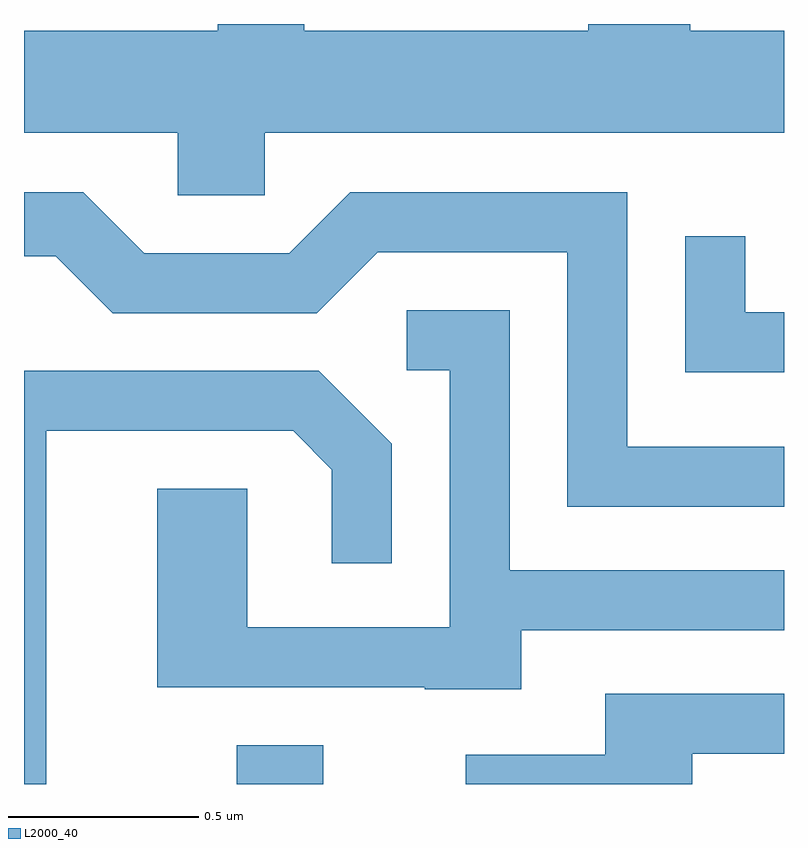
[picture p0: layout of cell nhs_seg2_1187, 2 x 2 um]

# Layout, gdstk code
import gdstk
lib = gdstk.Library(unit=1e-6, precision=1e-09)
def R(c, l, rs):  # rectangles x0, y0, x1, y1
    for r in rs: c.add(gdstk.rectangle(r[:2], r[2:], *l))
def P(c, l, *ps):  # polygons
    for p in ps: c.add(gdstk.Polygon(p, *l))
L2000_40 = (2000, 40)

nhs_seg2_1187 = lib.new_cell('nhs_seg2_1187')
R(nhs_seg2_1187, L2000_40, [(194.171,1068.802,194.399,1068.904)])
P(nhs_seg2_1187, L2000_40, [(194.244,1070.516),(195.611,1070.516),(195.611,1070.784),(195.364,1070.784),(195.364,1070.802),(195.096,1070.802),(195.096,1070.784),(194.349,1070.784),(194.349,1070.802),(194.121,1070.802),(194.121,1070.784),(193.611,1070.784),(193.611,1070.516),(194.016,1070.516),(194.016,1070.351),(194.244,1070.351)],
  [(195.611,1069.689),(195.199,1069.689),(195.199,1070.359),(194.469,1070.359),(194.309,1070.199),(193.927,1070.199),(193.767,1070.359),(193.611,1070.359),(193.611,1070.191),(193.694,1070.191),(193.844,1070.041),(194.382,1070.041),(194.542,1070.201),(195.041,1070.201),(195.041,1069.531),(195.611,1069.531)],
  [(195.611,1070.044),(195.509,1070.044),(195.509,1070.243),(195.351,1070.243),(195.351,1069.886),(195.611,1069.886)],
  [(194.919,1069.206),(195.611,1069.206),(195.611,1069.364),(194.889,1069.364),(194.889,1070.049),(194.618,1070.049),(194.618,1069.891),(194.731,1069.891),(194.731,1069.214),(194.199,1069.214),(194.199,1069.579),(193.961,1069.579),(193.961,1069.056),(194.665,1069.056),(194.665,1069.051),(194.919,1069.051)],
  [(193.669,1069.731),(194.319,1069.731),(194.421,1069.629),(194.421,1069.383),(194.579,1069.383),(194.579,1069.697),(194.387,1069.889),(193.611,1069.889),(193.611,1068.802),(193.669,1068.802)],
  [(195.369,1068.881),(195.611,1068.881),(195.611,1069.039),(195.141,1069.039),(195.141,1068.879),(194.773,1068.879),(194.773,1068.802),(195.369,1068.802)])

lib.write_gds('nhs_seg2_1187.gds')
